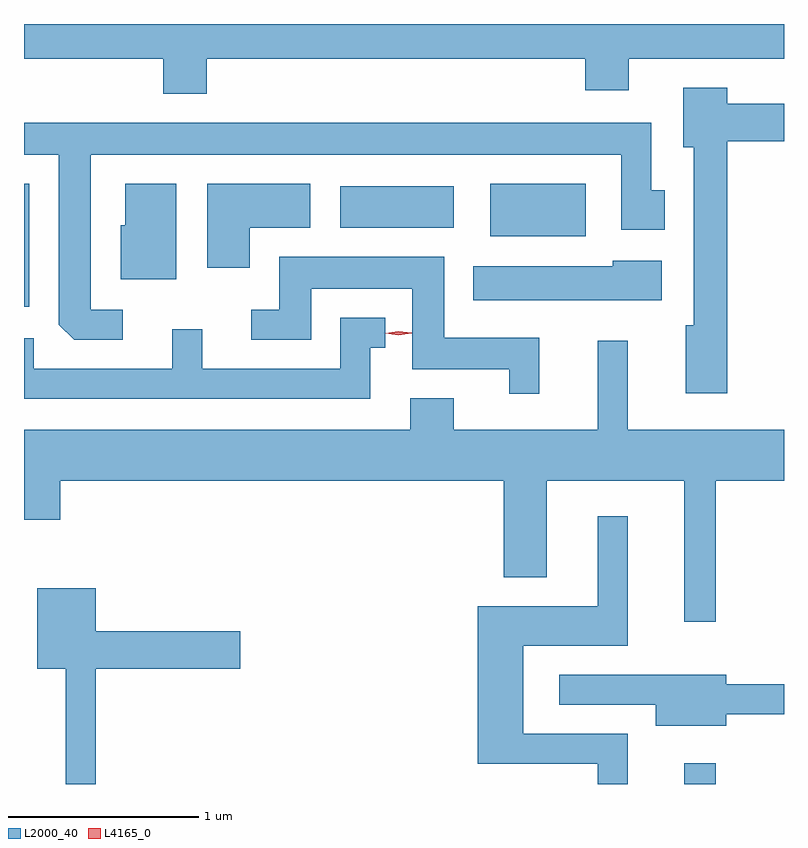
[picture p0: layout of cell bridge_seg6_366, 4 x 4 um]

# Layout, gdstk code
import gdstk
lib = gdstk.Library(unit=1e-6, precision=1e-09)
def R(c, l, rs):  # rectangles x0, y0, x1, y1
    for r in rs: c.add(gdstk.rectangle(r[:2], r[2:], *l))
def P(c, l, *ps):  # polygons
    for p in ps: c.add(gdstk.Polygon(p, *l))
L2000_40 = (2000, 40)
L4165_0 = (4165, 0)

bridge_seg6_366 = lib.new_cell('bridge_seg6_366')
R(bridge_seg6_366, L2000_40, [(973.771,1663.879,973.939,1663.988), (970.297,1666.391,970.324,1667.039), (972.751,1666.761,973.254,1667.039), (971.961,1666.806,972.559,1667.024)])
P(bridge_seg6_366, L2000_40, [(971.259,1667.696),(973.251,1667.696),(973.251,1667.531),(973.479,1667.531),(973.479,1667.696),(974.297,1667.696),(974.297,1667.879),(970.297,1667.879),(970.297,1667.696),(971.031,1667.696),(971.031,1667.511),(971.259,1667.511)],
  [(973.999,1667.261),(974.297,1667.261),(974.297,1667.459),(973.999,1667.459),(973.999,1667.544),(973.766,1667.544),(973.766,1667.231),(973.821,1667.231),(973.821,1666.294),(973.781,1666.294),(973.781,1665.936),(973.999,1665.936)],
  [(970.818,1666.374),(970.649,1666.374),(970.649,1667.191),(973.441,1667.191),(973.441,1666.796),(973.669,1666.796),(973.669,1667.004),(973.599,1667.004),(973.599,1667.359),(970.297,1667.359),(970.297,1667.191),(970.481,1667.191),(970.481,1666.297),(970.562,1666.216),(970.818,1666.216)],
  [(971.484,1666.806),(971.804,1666.806),(971.804,1667.039),(971.261,1667.039),(971.261,1666.596),(971.484,1666.596)],
  [(971.099,1667.039),(970.831,1667.039),(970.831,1666.819),(970.806,1666.819),(970.806,1666.536),(971.099,1666.536)],
  [(973.009,1666.229),(972.509,1666.229),(972.509,1666.654),(971.641,1666.654),(971.641,1666.374),(971.493,1666.374),(971.493,1666.216),(971.809,1666.216),(971.809,1666.486),(972.341,1666.486),(972.341,1666.061),(972.851,1666.061),(972.851,1665.933),(973.009,1665.933)],
  [(973.654,1666.634),(973.396,1666.634),(973.396,1666.604),(972.661,1666.604),(972.661,1666.426),(973.654,1666.426)],
  [(972.119,1666.176),(972.198,1666.176),(972.198,1666.334),(971.961,1666.334),(971.961,1666.064),(971.234,1666.064),(971.234,1666.273),(971.076,1666.273),(971.076,1666.064),(970.349,1666.064),(970.349,1666.224),(970.297,1666.224),(970.297,1665.906),(972.119,1665.906)],
  [(973.771,1664.733),(973.939,1664.733),(973.939,1665.476),(974.297,1665.476),(974.297,1665.744),(973.474,1665.744),(973.474,1666.213),(973.316,1666.213),(973.316,1665.744),(972.559,1665.744),(972.559,1665.909),(972.331,1665.909),(972.331,1665.744),(970.297,1665.744),(970.297,1665.271),(970.489,1665.271),(970.489,1665.476),(972.821,1665.476),(972.821,1664.966),(973.049,1664.966),(973.049,1665.476),(973.771,1665.476)],
  [(973.474,1664.144),(972.924,1664.144),(972.924,1664.606),(973.474,1664.606),(973.474,1665.288),(973.316,1665.288),(973.316,1664.814),(972.686,1664.814),(972.686,1663.986),(973.316,1663.986),(973.316,1663.879),(973.474,1663.879)],
  [(970.674,1664.486),(971.434,1664.486),(971.434,1664.684),(970.674,1664.684),(970.674,1664.909),(970.366,1664.909),(970.366,1664.486),(970.516,1664.486),(970.516,1663.879),(970.674,1663.879)],
  [(973.994,1664.246),(974.297,1664.246),(974.297,1664.404),(973.994,1664.404),(973.994,1664.454),(973.113,1664.454),(973.113,1664.296),(973.621,1664.296),(973.621,1664.186),(973.994,1664.186)])
P(bridge_seg6_366, L4165_0, [(972.268,1666.242),(972.199,1666.251),(972.199,1666.252),(972.199,1666.252),(972.268,1666.262),(972.338,1666.253),(972.338,1666.252),(972.338,1666.252)])

lib.write_gds('bridge_seg6_366.gds')
